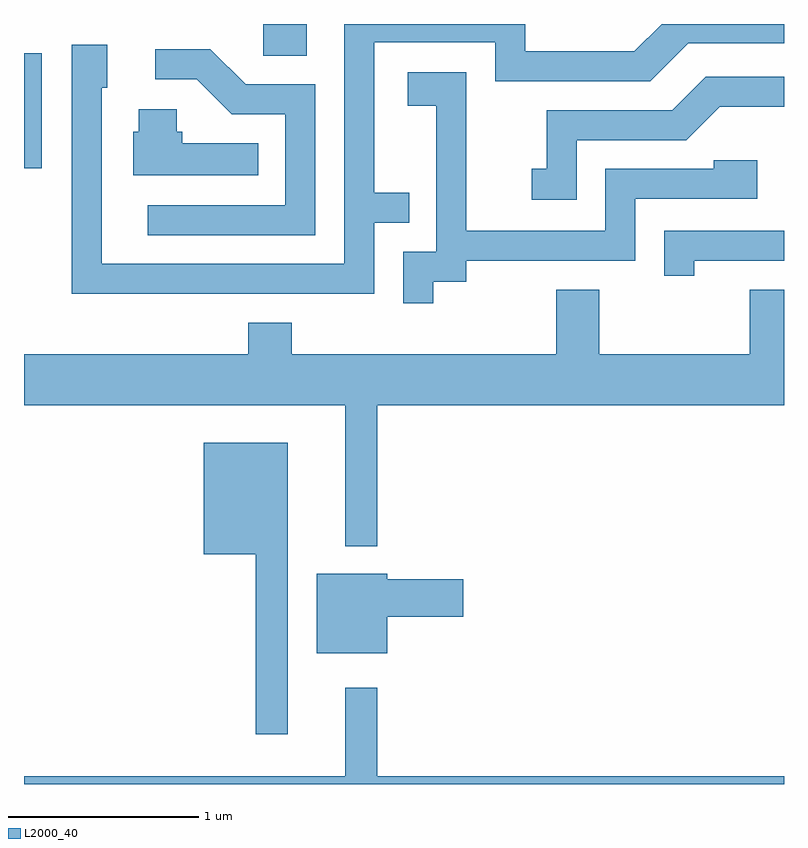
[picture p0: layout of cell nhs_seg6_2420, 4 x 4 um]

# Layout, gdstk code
import gdstk
lib = gdstk.Library(unit=1e-6, precision=1e-09)
def R(c, l, rs):  # rectangles x0, y0, x1, y1
    for r in rs: c.add(gdstk.rectangle(r[:2], r[2:], *l))
def P(c, l, *ps):  # polygons
    for p in ps: c.add(gdstk.Polygon(p, *l))
L2000_40 = (2000, 40)

nhs_seg6_2420 = lib.new_cell('nhs_seg6_2420')
R(nhs_seg6_2420, L2000_40, [(257.611,1653.403,257.704,1654.009), (258.871,1653.996,259.099,1654.162)])
P(nhs_seg6_2420, L2000_40, [(259.454,1653.116),(259.638,1653.116),(259.638,1653.274),(259.454,1653.274),(259.454,1654.066),(260.091,1654.066),(260.091,1653.861),(260.907,1653.861),(261.106,1654.061),(261.611,1654.061),(261.611,1654.162),(260.967,1654.162),(260.824,1654.019),(260.249,1654.019),(260.249,1654.162),(259.296,1654.162),(259.296,1652.899),(258.019,1652.899),(258.019,1653.826),(258.049,1653.826),(258.049,1654.054),(257.861,1654.054),(257.861,1652.741),(259.454,1652.741)],
  [(259.144,1653.844),(258.777,1653.844),(258.592,1654.029),(258.303,1654.029),(258.303,1653.871),(258.519,1653.871),(258.704,1653.686),(258.986,1653.686),(258.986,1653.209),(258.263,1653.209),(258.263,1653.051),(259.144,1653.051)],
  [(259.764,1652.806),(259.939,1652.806),(259.939,1652.916),(260.829,1652.916),(260.829,1653.241),(261.469,1653.241),(261.469,1653.444),(261.241,1653.444),(261.241,1653.399),(260.671,1653.399),(260.671,1653.074),(259.939,1653.074),(259.939,1653.909),(259.631,1653.909),(259.631,1653.731),(259.781,1653.731),(259.781,1652.964),(259.606,1652.964),(259.606,1652.693),(259.764,1652.693)],
  [(260.519,1653.551),(261.097,1653.551),(261.272,1653.726),(261.611,1653.726),(261.611,1653.884),(261.199,1653.884),(261.024,1653.709),(260.361,1653.709),(260.361,1653.399),(260.283,1653.399),(260.283,1653.236),(260.519,1653.236)],
  [(258.843,1653.534),(258.444,1653.534),(258.444,1653.594),(258.414,1653.594),(258.414,1653.714),(258.216,1653.714),(258.216,1653.594),(258.186,1653.594),(258.186,1653.366),(258.843,1653.366)],
  [(261.139,1652.916),(261.611,1652.916),(261.611,1653.074),(260.981,1653.074),(260.981,1652.838),(261.139,1652.838)],
  [(259.469,1652.156),(261.611,1652.156),(261.611,1652.764),(261.431,1652.764),(261.431,1652.424),(260.639,1652.424),(260.639,1652.764),(260.411,1652.764),(260.411,1652.424),(259.019,1652.424),(259.019,1652.589),(258.791,1652.589),(258.791,1652.424),(257.611,1652.424),(257.611,1652.156),(259.301,1652.156),(259.301,1651.413),(259.469,1651.413)],
  [(258.999,1651.959),(258.556,1651.959),(258.556,1651.371),(258.831,1651.371),(258.831,1650.423),(258.999,1650.423)],
  [(259.524,1651.041),(259.924,1651.041),(259.924,1651.239),(259.524,1651.239),(259.524,1651.269),(259.151,1651.269),(259.151,1650.851),(259.524,1650.851)],
  [(261.611,1650.204),(259.469,1650.204),(259.469,1650.668),(259.301,1650.668),(259.301,1650.204),(257.611,1650.204),(257.611,1650.162),(261.611,1650.162)])

lib.write_gds('nhs_seg6_2420.gds')
